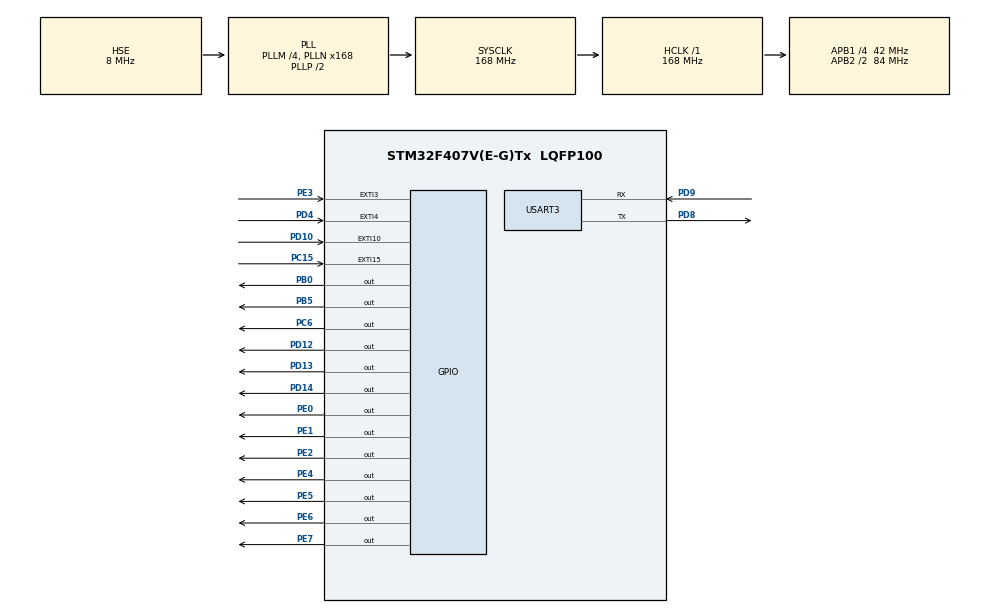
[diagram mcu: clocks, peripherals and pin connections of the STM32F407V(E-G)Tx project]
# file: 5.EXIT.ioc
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Mcu.Family=STM32F4
Mcu.Name=STM32F407V(E-G)Tx
Mcu.Package=LQFP100
NVIC.EXTI15_10_IRQn=true\:0\:0\:false\:true\:true\:5\:true\:true\:true
NVIC.EXTI3_IRQn=true\:0\:0\:false\:true\:true\:3\:true\:true\:true
NVIC.EXTI4_IRQn=true\:0\:0\:false\:true\:true\:4\:true\:true\:true
NVIC.PriorityGroup=NVIC_PRIORITYGROUP_4
NVIC.TIM7_IRQn=true\:0\:0\:false\:true\:true\:2\:true\:true\:true
NVIC.USART3_IRQn=true\:0\:0\:false\:true\:true\:1\:true\:true\:true
PB0.Signal=GPIO_Output
PB5.Signal=GPIO_Output
PC15-OSC32_OUT.Signal=GPXTI15
PC6.Signal=GPIO_Output
PD10.Signal=GPXTI10
PD12.Signal=GPIO_Output
PD13.Signal=GPIO_Output
PD14.Signal=GPIO_Output
PD4.Signal=GPXTI4
PD8.Mode=Asynchronous
PD8.Signal=USART3_TX
PD9.Mode=Asynchronous
PD9.Signal=USART3_RX
PE0.Signal=GPIO_Output
PE1.Signal=GPIO_Output
PE2.Signal=GPIO_Output
PE3.Signal=GPXTI3
PE4.Signal=GPIO_Output
PE5.Signal=GPIO_Output
PE6.Signal=GPIO_Output
PE7.Signal=GPIO_Output
PH0-OSC_IN.Mode=HSE-External-Oscillator
PH0-OSC_IN.Signal=RCC_OSC_IN
PH1-OSC_OUT.Mode=HSE-External-Oscillator
PH1-OSC_OUT.Signal=RCC_OSC_OUT
ProjectManager.HeapSize=0x200
ProjectManager.StackSize=0x400
ProjectManager.TargetToolchain=STM32CubeIDE
RCC.48MHZClocksFreq_Value=84000000
RCC.AHBFreq_Value=168000000
RCC.APB1CLKDivider=RCC_HCLK_DIV4
RCC.APB1Freq_Value=42000000
RCC.APB1TimFreq_Value=84000000
RCC.APB2CLKDivider=RCC_HCLK_DIV2
RCC.APB2Freq_Value=84000000
RCC.APB2TimFreq_Value=168000000
RCC.CortexFreq_Value=168000000
RCC.HCLKFreq_Value=168000000
RCC.HSE_VALUE=8000000
RCC.HSI_VALUE=16000000
RCC.LSE_VALUE=32768
RCC.PLLM=4
RCC.PLLN=168
RCC.PLLSourceVirtual=RCC_PLLSOURCE_HSE
RCC.SYSCLKFreq_VALUE=168000000
RCC.SYSCLKSource=RCC_SYSCLKSOURCE_PLLCLK
RCC.VCOOutputFreq_Value=336000000
TIM7.Period=8399
TIM7.Prescaler=9999
USART3.VirtualMode=VM_ASYNC
VP_TIM7_VS_ClockSourceINT.Mode=Enable_Timer
board=custom

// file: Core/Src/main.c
/* USER CODE BEGIN Header */
/**
  ******************************************************************************
  * @file           : main.c
  * @brief          : Main program body
  ******************************************************************************
  * @attention
  *
  * Copyright (c) 2024 STMicroelectronics.
  * All rights reserved.
  *
  * This software is licensed under terms that can be found in the LICENSE file
  * in the root directory of this software component.
  * If no LICENSE file comes with this software, it is provided AS-IS.
  *
  ******************************************************************************
  */
/* USER CODE END Header */
#include "main.h"
#include "tim.h"
#include "usart.h"
#include "gpio.h"

/* USER CODE BEGIN Includes */
#include "CLCD.h"
#include "7SEG.h"
#include  <stdio.h>
/* USER CODE END Includes */

/* USER CODE BEGIN PV */
 uint8_t rx3_data;
/* USER CODE END PV */

void SystemClock_Config(void);
static void MX_NVIC_Init(void);

int main(void)
{

  /* MCU Configuration--------------------------------------------------------*/

  /* Reset of all peripherals, Initializes the Flash interface and the Systick. */
  HAL_Init();

  /* Configure the system clock */
  SystemClock_Config();

  /* Initialize all configured peripherals */
  MX_GPIO_Init();
  MX_USART3_UART_Init();
  MX_TIM7_Init();

  /* Initialize interrupts */
  MX_NVIC_Init();
  /* USER CODE BEGIN 2 */
  HAL_GPIO_WritePin(GPIOD, GPIO_PIN_12, GPIO_PIN_SET);
  HAL_GPIO_WritePin(GPIOD, GPIO_PIN_13, GPIO_PIN_SET);
  HAL_GPIO_WritePin(GPIOD, GPIO_PIN_14, GPIO_PIN_SET);

  HAL_GPIO_WritePin(GPIOC, GPIO_PIN_6, GPIO_PIN_SET);
  HAL_GPIO_WritePin(GPIOB, GPIO_PIN_5, GPIO_PIN_SET);
  HAL_GPIO_WritePin(GPIOB, GPIO_PIN_0, GPIO_PIN_SET);

  HAL_UART_Receive_IT(&huart3, &rx3_data, 1);
  HAL_TIM_Base_Start_IT(&htim7);

  CLCD_GPIO_Init();
  CLCD_Init();
  CLCD_Puts(0, 0, "hello world");

  _7SEG_GPIO_Init();
  /* USER CODE END 2 */

  /* Infinite loop */
  /* USER CODE BEGIN WHILE */
  uint8_t a = 0;
  uint8_t str[20];
  while (1)
  {

    /* USER CODE END WHILE */

  }
}

void SystemClock_Config(void)
{
  RCC_OscInitTypeDef RCC_OscInitStruct = {0};
  RCC_ClkInitTypeDef RCC_ClkInitStruct = {0};

  /** Configure the main internal regulator output voltage
  */
  __HAL_RCC_PWR_CLK_ENABLE();
  __HAL_PWR_VOLTAGESCALING_CONFIG(PWR_REGULATOR_VOLTAGE_SCALE1);

  /** Initializes the RCC Oscillators according to the specified parameters
  * in the RCC_OscInitTypeDef structure.
  */
  RCC_OscInitStruct.OscillatorType = RCC_OSCILLATORTYPE_HSE;
  RCC_OscInitStruct.HSEState = RCC_HSE_ON;
  RCC_OscInitStruct.PLL.PLLState = RCC_PLL_ON;
  RCC_OscInitStruct.PLL.PLLSource = RCC_PLLSOURCE_HSE;
  RCC_OscInitStruct.PLL.PLLM = 4;
  RCC_OscInitStruct.PLL.PLLN = 168;
  RCC_OscInitStruct.PLL.PLLP = RCC_PLLP_DIV2;
  RCC_OscInitStruct.PLL.PLLQ = 4;
  if (HAL_RCC_OscConfig(&RCC_OscInitStruct) != HAL_OK)
  {
    Error_Handler();
  }

  /** Initializes the CPU, AHB and APB buses clocks
  */
  RCC_ClkInitStruct.ClockType = RCC_CLOCKTYPE_HCLK|RCC_CLOCKTYPE_SYSCLK
                              |RCC_CLOCKTYPE_PCLK1|RCC_CLOCKTYPE_PCLK2;
  RCC_ClkInitStruct.SYSCLKSource = RCC_SYSCLKSOURCE_PLLCLK;
  RCC_ClkInitStruct.AHBCLKDivider = RCC_SYSCLK_DIV1;
  RCC_ClkInitStruct.APB1CLKDivider = RCC_HCLK_DIV4;
  RCC_ClkInitStruct.APB2CLKDivider = RCC_HCLK_DIV2;

  if (HAL_RCC_ClockConfig(&RCC_ClkInitStruct, FLASH_LATENCY_5) != HAL_OK)
  {
    Error_Handler();
  }
}

/**
  * @brief NVIC Configuration.
  * @retval None
  */
static void MX_NVIC_Init(void)
{
  /* USART3_IRQn interrupt configuration */
  HAL_NVIC_SetPriority(USART3_IRQn, 0, 0);
  HAL_NVIC_EnableIRQ(USART3_IRQn);
  /* TIM7_IRQn interrupt configuration */
  HAL_NVIC_SetPriority(TIM7_IRQn, 0, 0);
  HAL_NVIC_EnableIRQ(TIM7_IRQn);
  /* EXTI3_IRQn interrupt configuration */
  HAL_NVIC_SetPriority(EXTI3_IRQn, 0, 0);
  HAL_NVIC_EnableIRQ(EXTI3_IRQn);
  /* EXTI4_IRQn interrupt configuration */
  HAL_NVIC_SetPriority(EXTI4_IRQn, 0, 0);
  HAL_NVIC_EnableIRQ(EXTI4_IRQn);
  /* EXTI15_10_IRQn interrupt configuration */
  HAL_NVIC_SetPriority(EXTI15_10_IRQn, 0, 0);
  HAL_NVIC_EnableIRQ(EXTI15_10_IRQn);
}

/* USER CODE BEGIN 4 */
void HAL_UART_RxCpltCallback(UART_HandleTypeDef *huart)
{
  if(huart->Instance == USART3)
  {
	  HAL_UART_Receive_IT(&huart3, &rx3_data, 10);
	  HAL_UART_Transmit(&huart3, &rx3_data, 1, 10);
  }
}
void HAL_TIM_PeriodElapsedCallback(TIM_HandleTypeDef *htim)
{
  if(htim->Instance == TIM7)
  {

  }
}

void HAL_GPIO_EXTI_Callback(uint16_t GPIO_Pin)
{
  if(GPIO_Pin == GPIO_PIN_3)
  {
	  HAL_GPIO_TogglePin(GPIOD, GPIO_PIN_12);
  }
  if(GPIO_Pin == GPIO_PIN_15)
  {
	  HAL_GPIO_TogglePin(GPIOD, GPIO_PIN_13);
  }
  if(GPIO_Pin == GPIO_PIN_4)
  {
	  HAL_GPIO_TogglePin(GPIOD, GPIO_PIN_14);
  }
  if(GPIO_Pin == GPIO_PIN_10)
  {
	  HAL_GPIO_TogglePin(GPIOB, GPIO_PIN_0);
  }

}
/* USER CODE END 4 */

void Error_Handler(void)
{
  __disable_irq();
  while (1)
  {
  }
}
